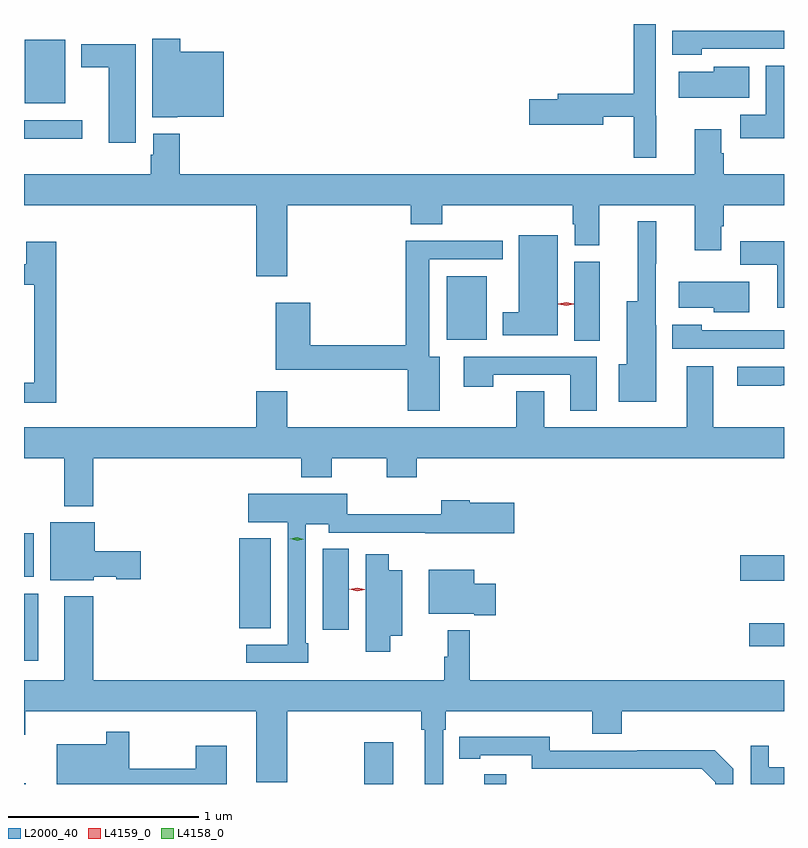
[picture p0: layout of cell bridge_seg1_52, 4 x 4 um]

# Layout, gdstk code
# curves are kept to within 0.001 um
import gdstk
lib = gdstk.Library(unit=1e-6, precision=1e-09)
def R(c, l, rs):  # rectangles x0, y0, x1, y1
    for r in rs: c.add(gdstk.rectangle(r[:2], r[2:], *l))
def P(c, l, *ps):  # polygons
    for p in ps: c.add(gdstk.Polygon(p, *l))
L2000_40 = (2000, 40)
L4158_0 = (4158, 0)
L4159_0 = (4159, 0)

bridge_seg1_52 = lib.new_cell('bridge_seg1_52')
R(bridge_seg1_52, L2000_40, [(487.462,564.67,487.471,564.673), (489.253,564.67,489.406,564.889), (489.884,564.67,490.001,564.721), (487.462,565.32,487.537,565.672), (491.28,565.394,491.462,565.516), (489.035,565.482,489.172,565.907), (488.594,565.489,488.761,565.963), (491.232,565.739,491.462,565.874), (487.462,565.76,487.513,565.99), (490.358,567.004,490.492,567.42), (489.686,567.008,489.898,567.343), (487.462,568.067,487.768,568.164), (487.466,568.253,487.678,568.588)])
P(bridge_seg1_52, L2000_40, [(490.79,568.187),(490.788,568.187),(490.788,568.67),(490.672,568.67),(490.672,568.303),(490.271,568.303),(490.271,568.274),(490.122,568.274),(490.122,568.139),(490.51,568.139),(490.51,568.182),(490.672,568.182),(490.672,567.965),(490.79,567.965)],
  [(491.03,568.539),(491.462,568.539),(491.462,568.635),(490.873,568.635),(490.873,568.508),(491.03,568.508)],
  [(488.268,568.181),(488.512,568.181),(488.512,568.525),(488.285,568.525),(488.285,568.592),(488.138,568.592),(488.138,568.178),(488.268,568.178)],
  [(488.05,568.564),(487.763,568.564),(487.763,568.442),(487.907,568.442),(487.907,568.044),(488.05,568.044)],
  [(491.462,568.45),(491.366,568.45),(491.366,568.192),(491.232,568.192),(491.232,568.07),(491.462,568.07)],
  [(491.278,568.444),(491.091,568.444),(491.091,568.42),(490.908,568.42),(490.908,568.283),(491.278,568.283)],
  [(488.848,567.716),(489.497,567.716),(489.497,567.617),(489.662,567.617),(489.662,567.716),(490.349,567.716),(490.349,567.615),(490.361,567.615),(490.361,567.505),(490.489,567.505),(490.489,567.716),(490.991,567.716),(490.991,567.48),(491.131,567.48),(491.131,567.606),(491.144,567.606),(491.144,567.716),(491.462,567.716),(491.462,567.88),(491.144,567.88),(491.144,567.99),(491.131,567.99),(491.131,568.117),(490.991,568.117),(490.991,567.88),(488.282,567.88),(488.282,568.093),(488.141,568.093),(488.141,567.981),(488.129,567.981),(488.129,567.88),(487.462,567.88),(487.462,567.716),(488.684,567.716),(488.684,567.342),(488.848,567.342)],
  [(490.789,567.084),(490.788,567.084),(490.788,567.409),(490.79,567.409),(490.79,567.631),(490.691,567.631),(490.691,567.211),(490.634,567.211),(490.634,566.878),(490.592,566.878),(490.592,566.681),(490.789,566.681)],
  [(490.27,567.559),(490.067,567.559),(490.067,567.154),(489.983,567.154),(489.983,567.032),(490.27,567.032)],
  [(489.649,566.92),(489.595,566.92),(489.595,567.432),(489.982,567.432),(489.982,567.53),(489.47,567.53),(489.47,566.978),(488.969,566.978),(488.969,567.202),(488.786,567.202),(488.786,566.85),(489.482,566.85),(489.482,566.634),(489.649,566.634)],
  [(491.462,567.526),(491.232,567.526),(491.232,567.404),(491.426,567.404),(491.426,567.177),(491.462,567.177)],
  [(487.631,567.523),(487.475,567.523),(487.475,567.406),(487.462,567.406),(487.462,567.297),(487.515,567.297),(487.515,566.781),(487.462,566.781),(487.462,566.676),(487.631,566.676)],
  [(491.278,567.313),(490.908,567.313),(490.908,567.176),(491.091,567.176),(491.091,567.152),(491.278,567.152)],
  [(491.462,567.057),(491.03,567.057),(491.03,567.088),(490.874,567.088),(490.874,566.961),(491.462,566.961)],
  [(490.477,566.919),(489.777,566.919),(489.777,566.76),(489.933,566.76),(489.933,566.823),(490.337,566.823),(490.337,566.634),(490.477,566.634)],
  [(487.826,566.384),(488.921,566.384),(488.921,566.285),(489.081,566.285),(489.081,566.384),(489.37,566.384),(489.37,566.285),(489.53,566.285),(489.53,566.384),(491.462,566.384),(491.462,566.548),(491.089,566.548),(491.089,566.869),(490.949,566.869),(490.949,566.548),(490.201,566.548),(490.201,566.738),(490.054,566.738),(490.054,566.548),(488.848,566.548),(488.848,566.737),(488.684,566.737),(488.684,566.548),(487.462,566.548),(487.462,566.384),(487.673,566.384),(487.673,566.132),(487.826,566.132)],
  [(491.447,566.769),(491.462,566.769),(491.462,566.865),(491.217,566.865),(491.217,566.767),(491.447,566.767)],
  [(488.959,565.411),(488.946,565.411),(488.946,566.036),(489.066,566.036),(489.066,565.992),(489.575,565.992),(489.575,565.991),(490.042,565.991),(490.042,566.149),(489.807,566.149),(489.807,566.164),(489.659,566.164),(489.659,566.09),(489.162,566.09),(489.162,566.197),(488.643,566.197),(488.643,566.048),(488.85,566.048),(488.85,565.404),(488.631,565.404),(488.631,565.308),(488.959,565.308)],
  [(487.83,565.76),(487.947,565.76),(487.947,565.748),(488.077,565.748),(488.077,565.895),(487.834,565.895),(487.834,566.047),(487.601,566.047),(487.601,565.742),(487.83,565.742)],
  [(489.39,565.451),(489.454,565.451),(489.454,565.795),(489.382,565.795),(489.382,565.879),(489.26,565.879),(489.26,565.365),(489.39,565.365)],
  [(489.946,565.723),(489.832,565.723),(489.832,565.798),(489.593,565.798),(489.593,565.565),(489.833,565.565),(489.833,565.558),(489.946,565.558)],
  [(489.669,564.956),(489.683,564.956),(489.683,565.052),(490.454,565.052),(490.454,564.935),(490.607,564.935),(490.607,565.052),(491.462,565.052),(491.462,565.216),(489.809,565.216),(489.809,565.48),(489.691,565.48),(489.691,565.34),(489.673,565.34),(489.673,565.216),(487.826,565.216),(487.826,565.657),(487.673,565.657),(487.673,565.216),(487.462,565.216),(487.462,564.929),(487.468,564.929),(487.468,565.052),(488.684,565.052),(488.684,564.678),(488.848,564.678),(488.848,565.052),(489.553,565.052),(489.553,564.956),(489.572,564.956),(489.572,564.67),(489.669,564.67)],
  [(488.53,564.871),(488.365,564.871),(488.365,564.751),(488.017,564.751),(488.017,564.946),(487.896,564.946),(487.896,564.88),(487.634,564.88),(487.634,564.67),(488.53,564.67)],
  [(491.196,564.75),(491.098,564.848),(490.69,564.848),(490.69,564.846),(490.23,564.846),(490.23,564.919),(489.754,564.918),(489.754,564.802),(489.862,564.802),(489.862,564.822),(490.134,564.822),(490.134,564.75),(491.028,564.75),(491.1,564.678),(491.1,564.67),(491.196,564.67)],
  [(491.462,564.759),(491.383,564.759),(491.383,564.871),(491.286,564.871),(491.286,564.67),(491.462,564.67)])
P(bridge_seg1_52, L4158_0, [(488.899,565.95),(488.864,565.961),(488.864,565.961),(488.864,565.962),(488.899,565.97),(488.934,565.959),(488.934,565.959),(488.934,565.959)])
P(bridge_seg1_52, L4159_0, [(489.215,565.684),(489.175,565.695),(489.175,565.695),(489.175,565.695),(489.216,565.704),(489.256,565.694),(489.256,565.694),(489.256,565.693)],
  [(490.315,567.186),(490.274,567.196),(490.274,567.197),(490.274,567.197),(490.315,567.206),(490.355,567.197),(490.355,567.196),(490.355,567.196)])

lib.write_gds('bridge_seg1_52.gds')
